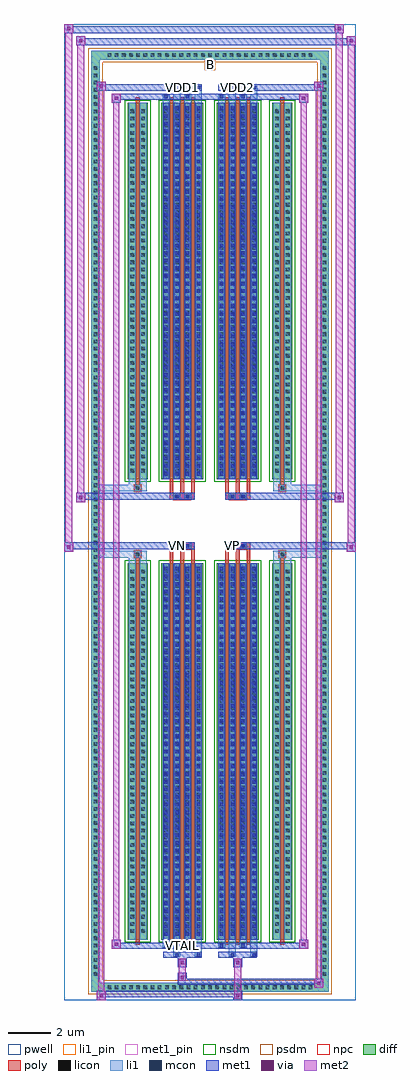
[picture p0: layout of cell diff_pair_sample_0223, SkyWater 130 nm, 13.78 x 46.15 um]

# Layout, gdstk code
import gdstk
lib = gdstk.Library(unit=1e-6, precision=5e-09)
def R(c, l, rs):  # rectangles x0, y0, x1, y1
    for r in rs: c.add(gdstk.rectangle(r[:2], r[2:], *l))
def A(c, l, x, y, w, h, nx, ny, dx, dy):  # array of equal rectangles
    R(c, l, [(x+i*dx, y+j*dy, x+i*dx+w, y+j*dy+h) for i in range(nx) for j in range(ny)])
def P(c, l, *ps):  # polygons
    for p in ps: c.add(gdstk.Polygon(p, *l))
pwell = (64, 44)
diff = (65, 20)
poly = (66, 20)
licon = (66, 44)
li1_pin = (67, 16)
li1 = (67, 20)
mcon = (67, 44)
met1_pin = (68, 16)
met1 = (68, 20)
via = (68, 44)
met2 = (69, 20)
nsdm = (93, 44)
psdm = (94, 20)
npc = (95, 20)

diff_pair_sample_0223 = lib.new_cell('diff_pair_sample_0223')
R(diff_pair_sample_0223, pwell, [(-6.89,-22.64,6.89,23.51), (-4.21,-20.83,-0.01,-0.805), (0.01,-20.83,4.21,-0.805), (-4.21,0.805,-0.01,20.83), (0.01,0.805,4.21,20.83)])
A(diff_pair_sample_0223, diff, -4.965, -22.24, 0.41, 0.41, 29, 2, 0.34, 44.07)
A(diff_pair_sample_0223, diff, -5.62, -21.625, 0.41, 0.41, 1, 127, 0, 0.34)
A(diff_pair_sample_0223, diff, 5.21, -21.625, 0.41, 0.41, 1, 127, 0, 0.34)
R(diff_pair_sample_0223, diff, [(-4.965,-22.24,4.965,-21.83), (-5.62,-21.625,-5.21,21.625), (5.21,-21.625,5.62,21.625), (-3.9,-19.785,-2.94,-1.985), (-2.3,-19.785,-0.32,-1.985), (0.32,-19.785,2.3,-1.985), (2.94,-19.785,3.9,-1.985), (-3.9,1.985,-2.94,19.785), (-2.3,1.985,-0.32,19.785), (0.32,1.985,2.3,19.785), (2.94,1.985,3.9,19.785), (-4.965,21.83,4.965,22.24)])
P(diff_pair_sample_0223, diff, [(5.62,22.24),(-5.62,22.24),(-5.62,-21.83),(-5.21,-21.83),(-5.21,21.83),(5.21,21.83),(5.21,-21.83),(-5.21,-21.83),(-5.62,-21.83),(-5.62,-22.24),(5.62,-22.24)])
A(diff_pair_sample_0223, poly, -1.91, -20.035, 0.18, 18.3, 3, 2, 0.51, 21.77)
A(diff_pair_sample_0223, poly, 0.71, -20.035, 0.18, 18.3, 3, 2, 0.51, 21.77)
A(diff_pair_sample_0223, poly, -1.91, -1.735, 0.18, 0.4, 3, 2, 0.51, 3.07)
A(diff_pair_sample_0223, poly, 0.71, -1.735, 0.18, 0.4, 3, 2, 0.51, 3.07)
R(diff_pair_sample_0223, poly, [(-3.51,-20.035,-3.33,-1.735), (3.33,-20.035,3.51,-1.735), (-3.585,-1.735,-3.255,-1.405), (-3.585,-1.735,-3.255,-1.405), (3.255,-1.735,3.585,-1.405), (3.255,-1.735,3.585,-1.405), (-1.91,-1.335,-0.71,-1.005), (-1.725,-1.335,-1.395,-1.005), (-1.225,-1.335,-0.895,-1.005), (0.71,-1.335,1.91,-1.005), (0.895,-1.335,1.225,-1.005), (1.395,-1.335,1.725,-1.005), (-1.91,1.005,-0.71,1.335), (-1.725,1.005,-1.395,1.335), (-1.225,1.005,-0.895,1.335), (0.71,1.005,1.91,1.335), (0.895,1.005,1.225,1.335), (1.395,1.005,1.725,1.335), (-3.585,1.405,-3.255,1.735), (-3.585,1.405,-3.255,1.735), (3.255,1.405,3.585,1.735), (3.255,1.405,3.585,1.735), (-3.51,1.735,-3.33,20.035), (3.33,1.735,3.51,20.035)])
A(diff_pair_sample_0223, licon, -4.845, -22.12, 0.17, 0.17, 29, 2, 0.34, 44.07)
A(diff_pair_sample_0223, licon, -5.5, -21.505, 0.17, 0.17, 1, 127, 0, 0.34)
A(diff_pair_sample_0223, licon, 5.33, -21.505, 0.17, 0.17, 1, 127, 0, 0.34)
A(diff_pair_sample_0223, licon, -3.76, -19.47, 0.17, 0.17, 1, 51, 0, 0.34)
A(diff_pair_sample_0223, licon, -3.25, -19.47, 0.17, 0.17, 1, 51, 0, 0.34)
A(diff_pair_sample_0223, licon, -2.16, -19.47, 0.17, 0.17, 4, 51, 0.51, 0.34)
A(diff_pair_sample_0223, licon, 0.46, -19.47, 0.17, 0.17, 4, 51, 0.51, 0.34)
A(diff_pair_sample_0223, licon, 3.08, -19.47, 0.17, 0.17, 1, 51, 0, 0.34)
A(diff_pair_sample_0223, licon, 3.59, -19.47, 0.17, 0.17, 1, 51, 0, 0.34)
A(diff_pair_sample_0223, licon, -3.76, 2.3, 0.17, 0.17, 1, 51, 0, 0.34)
A(diff_pair_sample_0223, licon, -3.25, 2.3, 0.17, 0.17, 1, 51, 0, 0.34)
A(diff_pair_sample_0223, licon, -2.16, 2.3, 0.17, 0.17, 4, 51, 0.51, 0.34)
A(diff_pair_sample_0223, licon, 0.46, 2.3, 0.17, 0.17, 4, 51, 0.51, 0.34)
A(diff_pair_sample_0223, licon, 3.08, 2.3, 0.17, 0.17, 1, 51, 0, 0.34)
A(diff_pair_sample_0223, licon, 3.59, 2.3, 0.17, 0.17, 1, 51, 0, 0.34)
R(diff_pair_sample_0223, licon, [(-3.505,-1.655,-3.335,-1.485), (3.335,-1.655,3.505,-1.485), (-1.645,-1.255,-1.475,-1.085), (-1.145,-1.255,-0.975,-1.085), (0.975,-1.255,1.145,-1.085), (1.475,-1.255,1.645,-1.085), (-1.645,1.085,-1.475,1.255), (-1.145,1.085,-0.975,1.255), (0.975,1.085,1.145,1.255), (1.475,1.085,1.645,1.255), (-3.505,1.485,-3.335,1.655), (3.335,1.485,3.505,1.655)])
R(diff_pair_sample_0223, li1_pin, [(-0.25,21.33,0.25,21.83)])
A(diff_pair_sample_0223, li1, -4.925, -22.2, 0.33, 0.33, 29, 2, 0.34, 44.07)
A(diff_pair_sample_0223, li1, -5.58, -21.585, 0.33, 0.33, 1, 127, 0, 0.34)
A(diff_pair_sample_0223, li1, 5.25, -21.585, 0.33, 0.33, 1, 127, 0, 0.34)
A(diff_pair_sample_0223, li1, -2.24, -19.785, 0.33, 17.8, 4, 2, 0.51, 21.77)
A(diff_pair_sample_0223, li1, 0.38, -19.785, 0.33, 17.8, 4, 2, 0.51, 21.77)
A(diff_pair_sample_0223, li1, -2.16, -19.61, 0.17, 0.17, 4, 49, 0.51, 0.36)
A(diff_pair_sample_0223, li1, -2.16, -19.61, 0.17, 17.45, 4, 2, 0.51, 21.77)
A(diff_pair_sample_0223, li1, 0.46, -19.61, 0.17, 0.17, 4, 49, 0.51, 0.36)
A(diff_pair_sample_0223, li1, 0.46, -19.61, 0.17, 17.45, 4, 2, 0.51, 21.77)
A(diff_pair_sample_0223, li1, -3.84, -19.55, 0.33, 0.33, 1, 51, 0, 0.34)
A(diff_pair_sample_0223, li1, -3.33, -19.55, 0.33, 0.33, 1, 51, 0, 0.34)
A(diff_pair_sample_0223, li1, -2.24, -19.55, 0.33, 0.33, 4, 51, 0.51, 0.34)
A(diff_pair_sample_0223, li1, 0.38, -19.55, 0.33, 0.33, 4, 51, 0.51, 0.34)
A(diff_pair_sample_0223, li1, 3, -19.55, 0.33, 0.33, 1, 51, 0, 0.34)
A(diff_pair_sample_0223, li1, 3.51, -19.55, 0.33, 0.33, 1, 51, 0, 0.34)
A(diff_pair_sample_0223, li1, -2.16, 2.16, 0.17, 0.17, 4, 49, 0.51, 0.36)
A(diff_pair_sample_0223, li1, 0.46, 2.16, 0.17, 0.17, 4, 49, 0.51, 0.36)
A(diff_pair_sample_0223, li1, -3.84, 2.22, 0.33, 0.33, 1, 51, 0, 0.34)
A(diff_pair_sample_0223, li1, -3.33, 2.22, 0.33, 0.33, 1, 51, 0, 0.34)
A(diff_pair_sample_0223, li1, -2.24, 2.22, 0.33, 0.33, 4, 51, 0.51, 0.34)
A(diff_pair_sample_0223, li1, 0.38, 2.22, 0.33, 0.33, 4, 51, 0.51, 0.34)
A(diff_pair_sample_0223, li1, 3, 2.22, 0.33, 0.33, 1, 51, 0, 0.34)
A(diff_pair_sample_0223, li1, 3.51, 2.22, 0.33, 0.33, 1, 51, 0, 0.34)
R(diff_pair_sample_0223, li1, [(-5.62,-22.24,-5.21,-21.83), (-5.62,-22.24,-5.21,-21.83), (-5.21,-22.24,5.21,-21.83), (5.21,-22.24,5.62,-21.83), (5.21,-22.24,5.62,-21.83), (-5.62,-21.83,-5.21,21.83), (5.21,-21.83,5.62,21.83), (-1.73,-20.59,-1.4,-19.785), (-1.65,-20.59,-1.48,-20.42), (-0.71,-20.59,-0.38,-19.785), (-0.63,-20.59,-0.46,-20.42), (0.89,-20.59,1.22,-19.785), (0.97,-20.59,1.14,-20.42), (1.91,-20.59,2.24,-19.785), (1.99,-20.59,2.16,-20.42), (-2.24,-20.16,-1.91,-19.785), (-2.16,-20.16,-1.99,-19.99), (-1.22,-20.16,-0.89,-19.785), (-1.14,-20.16,-0.97,-19.99), (0.38,-20.16,0.71,-19.785), (0.46,-20.16,0.63,-19.99), (1.4,-20.16,1.73,-19.785), (1.48,-20.16,1.65,-19.99), (-3.84,-19.785,-3.51,-1.985), (-3.33,-19.785,-3,-1.985), (3,-19.785,3.33,-1.985), (3.51,-19.785,3.84,-1.985), (-3.84,-1.985,-3.51,-1.405), (-3.33,-1.985,-3,-1.405), (3,-1.985,3.33,-1.405), (3.51,-1.985,3.84,-1.405), (-5.62,-1.735,-3.585,-1.405), (-3.84,-1.735,-3.585,-1.405), (-3.585,-1.735,-3.255,-1.405), (-3.255,-1.735,-3,-1.405), (3,-1.735,3.255,-1.405), (3.255,-1.735,3.585,-1.405), (3.255,-1.735,5.62,-1.405), (3.585,-1.735,3.84,-1.405), (-1.725,-1.335,-1.395,-1.005), (-1.225,-1.335,-0.895,-1.005), (0.895,-1.335,1.225,-1.005), (1.395,-1.335,1.725,-1.005), (-1.725,1.005,-1.395,1.335), (-1.225,1.005,-0.895,1.335), (0.895,1.005,1.225,1.335), (1.395,1.005,1.725,1.335), (-5.62,1.405,-3.585,1.735), (-3.84,1.405,-3.585,1.735), (-3.84,1.405,-3.51,1.985), (-3.585,1.405,-3.255,1.735), (-3.33,1.405,-3,1.985), (-3.255,1.405,-3,1.735), (3,1.405,3.255,1.735), (3,1.405,3.33,1.985), (3.255,1.405,3.585,1.735), (3.255,1.405,5.62,1.735), (3.51,1.405,3.84,1.985), (3.585,1.405,3.84,1.735), (-3.84,1.985,-3.51,19.785), (-3.33,1.985,-3,19.785), (3,1.985,3.33,19.785), (3.51,1.985,3.84,19.785), (-2.24,19.785,-1.91,20.16), (-1.73,19.785,-1.4,20.59), (-1.22,19.785,-0.89,20.16), (-0.71,19.785,-0.38,20.59), (0.38,19.785,0.71,20.16), (0.89,19.785,1.22,20.59), (1.4,19.785,1.73,20.16), (1.91,19.785,2.24,20.59), (-2.16,19.99,-1.99,20.16), (-1.14,19.99,-0.97,20.16), (0.46,19.99,0.63,20.16), (1.48,19.99,1.65,20.16), (-1.65,20.42,-1.48,20.59), (-0.63,20.42,-0.46,20.59), (0.97,20.42,1.14,20.59), (1.99,20.42,2.16,20.59), (-5.62,21.83,-5.21,22.24), (-5.62,21.83,-5.21,22.24), (-5.21,21.83,5.21,22.24), (5.21,21.83,5.62,22.24), (5.21,21.83,5.62,22.24)])
A(diff_pair_sample_0223, mcon, -2.16, -19.61, 0.17, 0.17, 4, 49, 0.51, 0.36)
A(diff_pair_sample_0223, mcon, 0.46, -19.61, 0.17, 0.17, 4, 49, 0.51, 0.36)
A(diff_pair_sample_0223, mcon, -2.16, 2.16, 0.17, 0.17, 4, 49, 0.51, 0.36)
A(diff_pair_sample_0223, mcon, 0.46, 2.16, 0.17, 0.17, 4, 49, 0.51, 0.36)
R(diff_pair_sample_0223, mcon, [(-1.65,-20.59,-1.48,-20.42), (-0.63,-20.59,-0.46,-20.42), (0.97,-20.59,1.14,-20.42), (1.99,-20.59,2.16,-20.42), (-2.16,-20.16,-1.99,-19.99), (-1.14,-20.16,-0.97,-19.99), (0.46,-20.16,0.63,-19.99), (1.48,-20.16,1.65,-19.99), (-1.645,-1.255,-1.475,-1.085), (-1.145,-1.255,-0.975,-1.085), (0.975,-1.255,1.145,-1.085), (1.475,-1.255,1.645,-1.085), (-1.645,1.085,-1.475,1.255), (-1.145,1.085,-0.975,1.255), (0.975,1.085,1.145,1.255), (1.475,1.085,1.645,1.255), (-2.16,19.99,-1.99,20.16), (-1.14,19.99,-0.97,20.16), (0.46,19.99,0.63,20.16), (1.48,19.99,1.65,20.16), (-1.65,20.42,-1.48,20.59), (-0.63,20.42,-0.46,20.59), (0.97,20.42,1.14,20.59), (1.99,20.42,2.16,20.59)])
R(diff_pair_sample_0223, met1_pin, [(-1.445,-20.2,-1.175,-19.93), (-1.695,-1.295,-1.425,-1.025), (0.925,-1.295,1.195,-1.025), (-1.445,20.38,-1.175,20.65), (1.175,20.38,1.445,20.65)])
A(diff_pair_sample_0223, met1, -2.22, -19.785, 0.29, 17.8, 4, 2, 0.51, 21.77)
A(diff_pair_sample_0223, met1, 0.4, -19.785, 0.29, 17.8, 4, 2, 0.51, 21.77)
A(diff_pair_sample_0223, met1, -2.22, -19.67, 0.29, 0.29, 4, 49, 0.51, 0.36)
A(diff_pair_sample_0223, met1, 0.4, -19.67, 0.29, 0.29, 4, 49, 0.51, 0.36)
A(diff_pair_sample_0223, met1, -2.22, 2.1, 0.29, 0.29, 4, 49, 0.51, 0.36)
A(diff_pair_sample_0223, met1, 0.4, 2.1, 0.29, 0.29, 4, 49, 0.51, 0.36)
R(diff_pair_sample_0223, met1, [(-5.35,-22.64,-4.92,-22.21), (1.095,-22.64,1.525,-22.21), (-5.35,-22.5,1.525,-22.21), (4.92,-22.07,5.35,-21.64), (-1.525,-21.93,5.35,-21.64), (-1.525,-21.79,-1.095,-21.36), (-1.525,-21.08,-1.095,-20.65), (1.095,-21.08,1.525,-20.65), (-2.22,-20.65,-0.4,-20.36), (-1.71,-20.65,-1.42,-20.36), (-0.69,-20.65,-0.4,-20.36), (0.4,-20.65,2.22,-20.36), (0.91,-20.65,1.2,-20.36), (1.93,-20.65,2.22,-20.36), (-4.64,-20.22,-4.21,-19.79), (-4.64,-20.22,-2.22,-19.93), (-2.22,-20.22,-1.93,-19.93), (-2.22,-20.22,-0.4,-19.93), (-1.2,-20.22,-0.91,-19.93), (-0.4,-20.22,0.4,-19.93), (0.4,-20.22,0.69,-19.93), (0.4,-20.22,2.22,-19.93), (1.42,-20.22,1.71,-19.93), (2.22,-20.22,4.64,-19.93), (4.21,-20.22,4.64,-19.79), (-6.89,-1.435,-6.46,-1.005), (6.46,-1.435,6.89,-1.005), (-6.89,-1.335,-0.71,-1.005), (-1.91,-1.335,-0.71,-1.005), (0.71,-1.335,1.91,-1.005), (0.71,-1.335,6.89,-1.005), (-1.705,-1.315,-1.415,-1.025), (-1.205,-1.315,-0.915,-1.025), (0.915,-1.315,1.205,-1.025), (1.415,-1.315,1.705,-1.025), (-6.32,0.905,-5.89,1.335), (5.89,0.905,6.32,1.335), (-6.32,1.005,-1.91,1.335), (-1.91,1.005,-0.71,1.335), (0.71,1.005,1.91,1.335), (1.91,1.005,6.32,1.335), (-1.705,1.025,-1.415,1.315), (-1.205,1.025,-0.915,1.315), (0.915,1.025,1.205,1.315), (1.415,1.025,1.705,1.315), (-4.64,19.79,-4.21,20.22), (4.21,19.79,4.64,20.22), (-4.64,19.93,-2.22,20.22), (-2.22,19.93,-1.93,20.22), (-2.22,19.93,-0.4,20.22), (-1.2,19.93,-0.91,20.22), (-0.4,19.93,0.4,20.22), (0.4,19.93,0.69,20.22), (0.4,19.93,2.22,20.22), (1.42,19.93,1.71,20.22), (2.22,19.93,4.64,20.22), (-5.35,20.36,-4.92,20.79), (-5.35,20.36,-2.22,20.65), (-2.22,20.36,-0.4,20.65), (-1.71,20.36,-1.42,20.65), (-0.69,20.36,-0.4,20.65), (0.4,20.36,2.22,20.65), (0.91,20.36,1.2,20.65), (1.93,20.36,2.22,20.65), (2.22,20.36,5.35,20.65), (4.92,20.36,5.35,20.79), (-6.32,22.51,-5.89,22.94), (-6.32,22.51,-4.21,22.84), (-4.21,22.51,4.21,22.84), (4.21,22.51,6.89,22.84), (6.46,22.51,6.89,22.94), (-6.89,23.08,-6.46,23.51), (-6.89,23.08,-4.21,23.41), (-4.21,23.08,4.21,23.41), (4.21,23.08,6.32,23.41), (5.89,23.08,6.32,23.51)])
R(diff_pair_sample_0223, via, [(-5.21,-22.5,-5.06,-22.35), (1.235,-22.5,1.385,-22.35), (5.06,-21.93,5.21,-21.78), (-1.385,-21.65,-1.235,-21.5), (-1.385,-20.94,-1.235,-20.79), (1.235,-20.94,1.385,-20.79), (-4.5,-20.08,-4.35,-19.93), (4.35,-20.08,4.5,-19.93), (-6.75,-1.295,-6.6,-1.145), (6.6,-1.295,6.75,-1.145), (-6.18,1.045,-6.03,1.195), (6.03,1.045,6.18,1.195), (-4.5,19.93,-4.35,20.08), (4.35,19.93,4.5,20.08), (-5.21,20.5,-5.06,20.65), (5.06,20.5,5.21,20.65), (-6.18,22.65,-6.03,22.8), (6.6,22.65,6.75,22.8), (-6.75,23.22,-6.6,23.37), (6.03,23.22,6.18,23.37)])
R(diff_pair_sample_0223, met2, [(-5.35,-22.64,-4.92,-22.21), (-5.28,-22.64,-4.99,20.79), (-4.99,-22.64,-4.92,-22.21), (-5.3,-22.59,-4.97,-22.26), (1.145,-22.59,1.475,-22.26), (1.145,-22.26,1.475,-21.03), (4.92,-22.07,5.35,-21.64), (4.99,-22.07,5.28,20.79), (5.28,-22.07,5.35,-21.64), (4.97,-22.02,5.3,-21.69), (-1.475,-21.74,-1.145,-21.41), (-1.475,-21.41,-1.145,-21.03), (-1.475,-21.03,-1.145,-20.7), (1.145,-21.03,1.475,-20.7), (-4.64,-20.22,-4.21,-19.79), (-4.57,-20.22,-4.28,20.22), (-4.28,-20.22,-4.21,-19.79), (4.21,-20.22,4.64,-19.79), (4.28,-20.22,4.57,20.22), (4.57,-20.22,4.64,-19.79), (-4.59,-20.17,-4.26,-19.84), (4.26,-20.17,4.59,-19.84), (-6.89,-1.435,-6.46,-1.005), (-6.84,-1.435,-6.51,23.51), (-6.51,-1.435,-6.46,-1.005), (6.46,-1.435,6.89,-1.005), (6.51,-1.435,6.84,22.94), (6.84,-1.435,6.89,-1.005), (-6.84,-1.385,-6.51,-1.055), (6.51,-1.385,6.84,-1.055), (-6.32,0.905,-5.89,1.335), (-6.27,0.905,-5.94,22.94), (-5.94,0.905,-5.89,1.335), (5.89,0.905,6.32,1.335), (5.94,0.905,6.27,23.51), (6.27,0.905,6.32,1.335), (-6.27,0.955,-5.94,1.285), (5.94,0.955,6.27,1.285), (-4.64,19.79,-4.21,20.22), (-4.28,19.79,-4.21,20.22), (4.21,19.79,4.64,20.22), (4.57,19.79,4.64,20.22), (-4.59,19.84,-4.26,20.17), (4.26,19.84,4.59,20.17), (-5.35,20.36,-4.92,20.79), (-4.99,20.36,-4.92,20.79), (4.92,20.36,5.35,20.79), (5.28,20.36,5.35,20.79), (-5.3,20.41,-4.97,20.74), (4.97,20.41,5.3,20.74), (-6.32,22.51,-5.89,22.94), (-5.94,22.51,-5.89,22.94), (6.46,22.51,6.89,22.94), (6.84,22.51,6.89,22.94), (-6.27,22.56,-5.94,22.89), (6.51,22.56,6.84,22.89), (-6.89,23.08,-6.46,23.51), (-6.51,23.08,-6.46,23.51), (5.89,23.08,6.32,23.51), (6.27,23.08,6.32,23.51), (-6.84,23.13,-6.51,23.46), (5.94,23.13,6.27,23.46)])
R(diff_pair_sample_0223, nsdm, [(-4.03,-19.915,-2.81,-1.855), (-2.43,-19.915,-0.19,-1.855), (0.19,-19.915,2.43,-1.855), (2.81,-19.915,4.03,-1.855), (-4.03,1.855,-2.81,19.915), (-2.43,1.855,-0.19,19.915), (0.19,1.855,2.43,19.915), (2.81,1.855,4.03,19.915)])
P(diff_pair_sample_0223, psdm, [(5.75,22.37),(-5.75,22.37),(-5.75,-21.7),(-5.08,-21.7),(-5.08,21.7),(5.08,21.7),(5.08,-21.7),(-5.08,-21.7),(-5.75,-21.7),(-5.75,-22.37),(5.75,-22.37)])
R(diff_pair_sample_0223, npc, [(-3.605,-1.755,-3.235,-1.385), (3.235,-1.755,3.605,-1.385), (-1.745,-1.355,-1.375,-0.985), (-1.745,-1.355,-0.875,-0.985), (-1.745,-1.355,-0.875,-0.985), (-1.245,-1.355,-0.875,-0.985), (0.875,-1.355,1.245,-0.985), (0.875,-1.355,1.745,-0.985), (0.875,-1.355,1.745,-0.985), (1.375,-1.355,1.745,-0.985), (-1.745,0.985,-1.375,1.355), (-1.745,0.985,-0.875,1.355), (-1.745,0.985,-0.875,1.355), (-1.245,0.985,-0.875,1.355), (0.875,0.985,1.245,1.355), (0.875,0.985,1.745,1.355), (0.875,0.985,1.745,1.355), (1.375,0.985,1.745,1.355), (-3.605,1.385,-3.235,1.755), (3.235,1.385,3.605,1.755)])
diff_pair_sample_0223.add(gdstk.Label('VTAIL', (-1.31,-20.065), layer=68, texttype=5))
diff_pair_sample_0223.add(gdstk.Label('VN', (-1.56,-1.16), layer=68, texttype=5))
diff_pair_sample_0223.add(gdstk.Label('VP', (1.06,-1.16), layer=68, texttype=5))
diff_pair_sample_0223.add(gdstk.Label('B', (0,21.58), layer=67, texttype=5))
diff_pair_sample_0223.add(gdstk.Label('VDD2', (1.31,20.515), layer=68, texttype=5))
diff_pair_sample_0223.add(gdstk.Label('VDD1', (-1.31,20.515), layer=68, texttype=5))

lib.write_gds('diff_pair_sample_0223.gds')
